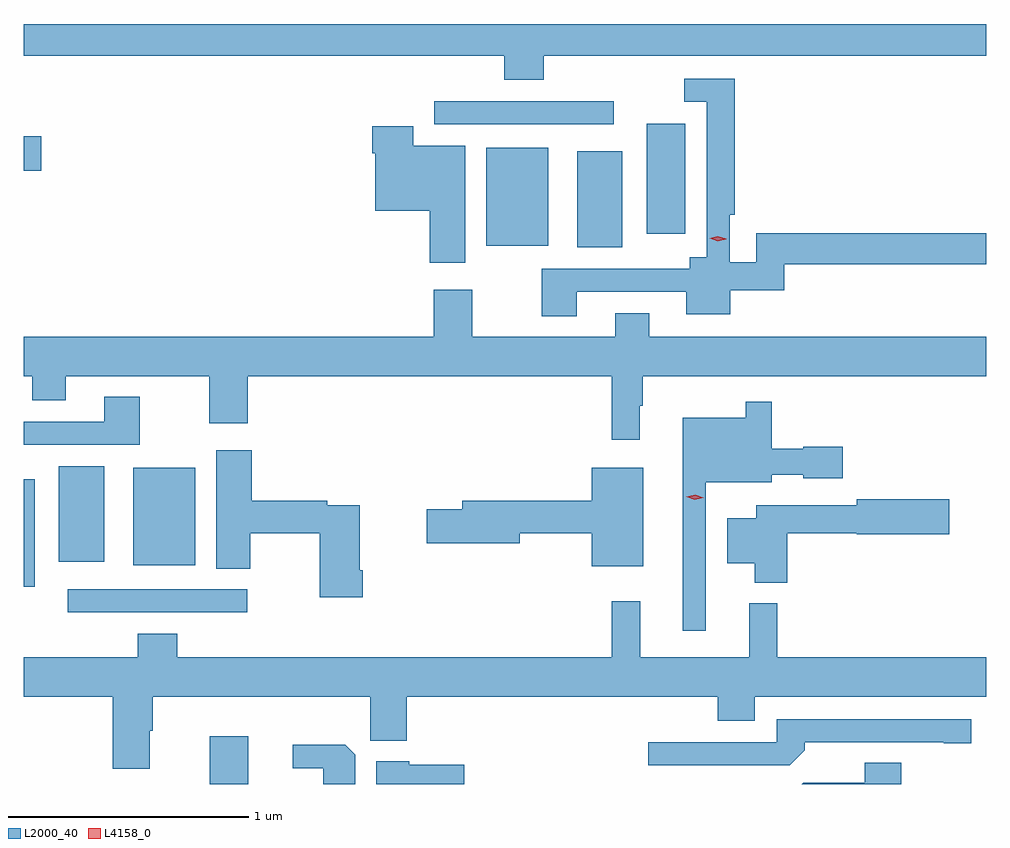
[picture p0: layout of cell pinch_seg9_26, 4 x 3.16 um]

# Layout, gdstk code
import gdstk
lib = gdstk.Library(unit=1e-6, precision=1e-09)
def R(c, l, rs):  # rectangles x0, y0, x1, y1
    for r in rs: c.add(gdstk.rectangle(r[:2], r[2:], *l))
def P(c, l, *ps):  # polygons
    for p in ps: c.add(gdstk.Polygon(p, *l))
L2000_40 = (2000, 40)
L4158_0 = (4158, 0)

pinch_seg9_26 = lib.new_cell('pinch_seg9_26')
R(pinch_seg9_26, L2000_40, [(933.443,1245.342,933.604,1245.541), (932.853,1246.056,933.598,1246.152), (932.67,1246.161,932.716,1246.609), (933.125,1246.25,933.382,1246.657), (932.816,1246.265,933.004,1246.663), (934.97,1247.573,935.158,1247.971), (934.592,1247.579,934.849,1247.986), (935.258,1247.628,935.419,1248.085), (932.67,1247.891,932.743,1248.033), (934.377,1248.084,935.122,1248.18)])
P(pinch_seg9_26, L2000_40, [(934.832,1248.368),(936.67,1248.368),(936.67,1248.5),(932.67,1248.5),(932.67,1248.368),(934.667,1248.368),(934.667,1248.269),(934.832,1248.269)],
  [(934.969,1247.388),(935.423,1247.388),(935.423,1247.294),(935.605,1247.294),(935.605,1247.393),(935.831,1247.393),(935.831,1247.502),(936.67,1247.502),(936.67,1247.63),(935.715,1247.63),(935.715,1247.51),(935.604,1247.51),(935.604,1247.707),(935.624,1247.707),(935.624,1248.273),(935.415,1248.273),(935.415,1248.177),(935.508,1248.177),(935.508,1247.53),(935.438,1247.53),(935.438,1247.484),(934.822,1247.484),(934.822,1247.286),(934.969,1247.286)],
  [(934.504,1247.995),(934.288,1247.995),(934.288,1248.076),(934.118,1248.076),(934.118,1247.963),(934.13,1247.963),(934.13,1247.723),(934.358,1247.723),(934.358,1247.508),(934.504,1247.508)],
  [(935.23,1246.913),(935.242,1246.913),(935.242,1247.036),(936.67,1247.036),(936.67,1247.2),(935.269,1247.2),(935.269,1247.299),(935.129,1247.299),(935.129,1247.2),(934.533,1247.2),(934.533,1247.395),(934.373,1247.395),(934.373,1247.2),(932.67,1247.2),(932.67,1247.036),(932.705,1247.036),(932.705,1246.937),(932.845,1246.937),(932.845,1247.036),(933.442,1247.036),(933.442,1246.842),(933.602,1246.842),(933.602,1247.036),(935.113,1247.036),(935.113,1246.773),(935.23,1246.773)],
  [(933.153,1246.951),(933.005,1246.951),(933.005,1246.848),(932.67,1246.848),(932.67,1246.752),(933.153,1246.752)],
  [(935.505,1246.595),(935.779,1246.595),(935.779,1246.626),(935.91,1246.626),(935.91,1246.613),(936.073,1246.613),(936.073,1246.743),(935.91,1246.743),(935.91,1246.735),(935.779,1246.735),(935.779,1246.93),(935.67,1246.93),(935.67,1246.864),(935.408,1246.864),(935.408,1245.978),(935.505,1245.978)],
  [(934.079,1246.231),(934.066,1246.231),(934.066,1246.5),(933.932,1246.5),(933.932,1246.52),(933.617,1246.52),(933.617,1246.729),(933.47,1246.729),(933.47,1246.237),(933.612,1246.237),(933.612,1246.384),(933.901,1246.384),(933.901,1246.119),(934.079,1246.119)],
  [(935.245,1246.657),(935.03,1246.657),(935.03,1246.52),(934.493,1246.52),(934.493,1246.484),(934.344,1246.484),(934.344,1246.342),(934.732,1246.342),(934.732,1246.384),(935.03,1246.384),(935.03,1246.247),(935.245,1246.247)],
  [(935.843,1246.384),(936.132,1246.384),(936.132,1246.379),(936.517,1246.379),(936.517,1246.526),(936.132,1246.526),(936.132,1246.5),(935.714,1246.5),(935.714,1246.447),(935.594,1246.447),(935.594,1246.259),(935.708,1246.259),(935.708,1246.178),(935.843,1246.178)],
  [(933.193,1245.563),(933.206,1245.563),(933.206,1245.704),(934.111,1245.704),(934.111,1245.522),(934.262,1245.522),(934.262,1245.704),(935.555,1245.704),(935.555,1245.605),(935.707,1245.605),(935.707,1245.704),(936.67,1245.704),(936.67,1245.868),(935.801,1245.868),(935.801,1246.093),(935.684,1246.093),(935.684,1245.868),(935.231,1245.868),(935.231,1246.102),(935.113,1246.102),(935.113,1245.868),(933.308,1245.868),(933.308,1245.967),(933.143,1245.967),(933.143,1245.868),(932.67,1245.868),(932.67,1245.704),(933.041,1245.704),(933.041,1245.405),(933.193,1245.405)],
  [(935.915,1245.482),(935.915,1245.516),(936.494,1245.516),(936.494,1245.511),(936.607,1245.511),(936.607,1245.612),(935.799,1245.612),(935.799,1245.516),(935.265,1245.516),(935.265,1245.42),(935.853,1245.42)],
  [(934.048,1245.464),(934.006,1245.506),(933.789,1245.506),(933.789,1245.408),(933.914,1245.408),(933.914,1245.342),(934.048,1245.342)],
  [(934.501,1245.421),(934.272,1245.421),(934.272,1245.436),(934.136,1245.436),(934.136,1245.342),(934.501,1245.342)],
  [(936.317,1245.431),(936.164,1245.431),(936.164,1245.348),(935.91,1245.348),(935.904,1245.342),(936.317,1245.342)])
P(pinch_seg9_26, L4158_0, [(935.555,1247.598),(935.52,1247.609),(935.52,1247.609),(935.52,1247.609),(935.555,1247.618),(935.59,1247.607),(935.59,1247.606),(935.59,1247.606)],
  [(935.458,1246.523),(935.424,1246.535),(935.423,1246.535),(935.424,1246.535),(935.46,1246.543),(935.495,1246.531),(935.495,1246.531),(935.495,1246.531)])

lib.write_gds('pinch_seg9_26.gds')
